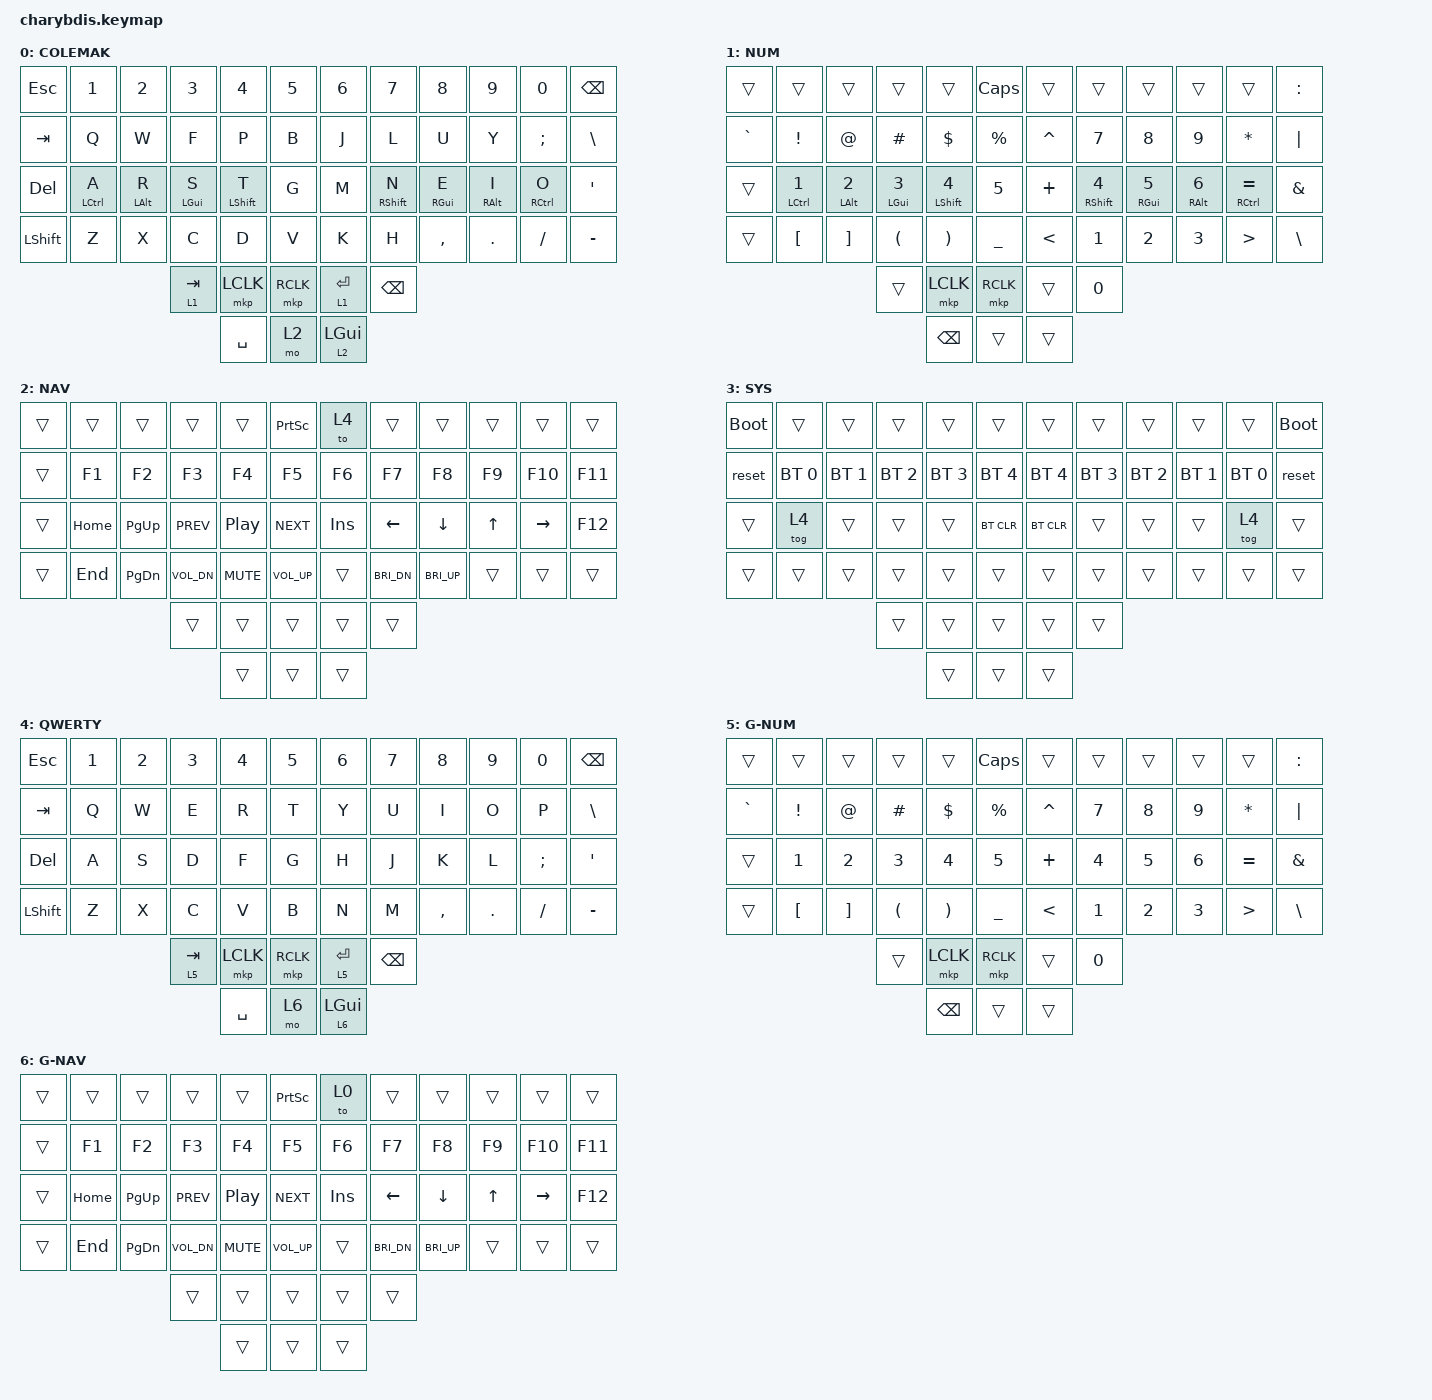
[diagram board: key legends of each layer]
#include <dt-bindings/zmk/mouse.h>
#include <behaviors.dtsi>
#include <dt-bindings/zmk/bt.h>
#include <dt-bindings/zmk/keys.h>
#include <dt-bindings/zmk/pointing.h>

&lt {
    tapping-term-ms = <200>;
    flavor = "balanced";
    quick-tap-ms = <150>;
};

/ {
    /* Conditional layers */
    conditional_layers {
        compatible = "zmk,conditional-layers";
        tri_layer {
            if-layers = <1 2>;
            then-layer = <3>;
        };
    };

    /* Home row mods */
    behaviors {
        hml: homerow_mods_left {
            compatible = "zmk,behavior-hold-tap";
            label = "HOMEROW_MODS_LEFT";
            #binding-cells = <2>;
            tapping-term-ms = <220>;
            quick-tap-ms = <150>;
            flavor = "balanced";
            bindings = <&kp>, <&kp>;
            hold-trigger-key-positions = <6 7 8 9 10 11 18 19 20 21 22 23 30 31 32 33 34 35 42 43 44 45 46 47 54 55 56>;
        };

        hmr: homerow_mods_right {
            compatible = "zmk,behavior-hold-tap";
            label = "HOMEROW_MODS_RIGHT";
            #binding-cells = <2>;
            tapping-term-ms = <220>;
            quick-tap-ms = <150>;
            flavor = "balanced";
            bindings = <&kp>, <&kp>;
            hold-trigger-key-positions = <0 1 2 3 4 5 12 13 14 15 16 17 24 25 26 27 28 29 36 37 38 39 40 41 48 49 50>;
        };

        // Tap-dance: dot variations
        td_dot: tap_dance_dot {
            compatible = "zmk,behavior-tap-dance";
            label = "TAP_DANCE_DOT";
            #binding-cells = <0>;
            tapping-term-ms = <200>;
            bindings = <&kp DOT>, <&macro_dot_dot>;
        };

        // Tap-dance: space/underscore
        td_spc: tap_dance_space {
            compatible = "zmk,behavior-tap-dance";
            label = "TAP_DANCE_SPACE";
            #binding-cells = <0>;
            tapping-term-ms = <200>;
            bindings = <&kp SPACE>, <&kp UNDER>;
        };

        // Mod-morph: dot to colon with shift
        mm_dot: mod_morph_dot {
            compatible = "zmk,behavior-mod-morph";
            label = "MOD_MORPH_DOT";
            #binding-cells = <0>;
            bindings = <&kp DOT>, <&kp COLON>;
            mods = <(MOD_LSFT|MOD_RSFT)>;
        };

        // Mod-morph: comma to semicolon with shift
        mm_comma: mod_morph_comma {
            compatible = "zmk,behavior-mod-morph";
            label = "MOD_MORPH_COMMA";
            #binding-cells = <0>;
            bindings = <&kp COMMA>, <&kp SEMI>;
            mods = <(MOD_LSFT|MOD_RSFT)>;
        };
    };

    /* Macros */
    macros {
        macro_dot_dot: macro_dot_dot {
            compatible = "zmk,behavior-macro";
            label = "MACRO_DOT_DOT";
            #binding-cells = <0>;
            bindings = <&kp DOT &kp DOT>;
        };

        macro_ellipsis: macro_ellipsis {
            compatible = "zmk,behavior-macro";
            label = "MACRO_ELLIPSIS";
            #binding-cells = <0>;
            bindings = <&kp DOT &kp DOT &kp DOT>;
        };

        macro_braces: macro_braces {
            compatible = "zmk,behavior-macro";
            label = "MACRO_BRACES";
            #binding-cells = <0>;
            bindings = <&kp LBRC &kp RBRC &kp LEFT>;
        };

        macro_brackets: macro_brackets {
            compatible = "zmk,behavior-macro";
            label = "MACRO_BRACKETS";
            #binding-cells = <0>;
            bindings = <&kp LBKT &kp RBKT &kp LEFT>;
        };

        macro_parens: macro_parens {
            compatible = "zmk,behavior-macro";
            label = "MACRO_PARENS";
            #binding-cells = <0>;
            bindings = <&kp LPAR &kp RPAR &kp LEFT>;
        };

        macro_arrow: macro_arrow {
            compatible = "zmk,behavior-macro";
            label = "MACRO_ARROW";
            #binding-cells = <0>;
            bindings = <&kp MINUS &kp GT>;
        };

        macro_fat_arrow: macro_fat_arrow {
            compatible = "zmk,behavior-macro";
            label = "MACRO_FAT_ARROW";
            #binding-cells = <0>;
            bindings = <&kp EQUAL &kp GT>;
        };
    };

    /* Combos */
    combos {
        compatible = "zmk,combos";

        // ESC combos (Vim-style)
        combo_esc_wf {
            timeout-ms = <50>;
            key-positions = <14 15>;  // W+F
            bindings = <&kp ESC>;
            layers = <0>;
        };

        combo_esc_lu {
            timeout-ms = <50>;
            key-positions = <19 20>;  // L+U
            bindings = <&kp ESC>;
            layers = <0>;
        };

        // Bracket pairs
        combo_braces {
            timeout-ms = <50>;
            key-positions = <27 28>;  // D+F (C+D en Colemak-DH)
            bindings = <&macro_braces>;
            layers = <0>;
        };

        combo_brackets {
            timeout-ms = <50>;
            key-positions = <37 38>;  // Z+X
            bindings = <&macro_brackets>;
            layers = <0>;
        };

        combo_parens {
            timeout-ms = <50>;
            key-positions = <15 16>;  // F+P
            bindings = <&macro_parens>;
            layers = <0>;
        };

        // Programming arrows
        combo_arrow {
            timeout-ms = <50>;
            key-positions = <33 34>;  // K+H
            bindings = <&macro_arrow>;
            layers = <0>;
        };

        combo_fat_arrow {
            timeout-ms = <50>;
            key-positions = <21 22>;  // Y+;
            bindings = <&macro_fat_arrow>;
            layers = <0>;
        };

        // Quick delete word
        combo_del_word {
            timeout-ms = <50>;
            key-positions = <32 33>;  // H+K (inverted for Colemak)
            bindings = <&kp LC(BSPC)>;
            layers = <0>;
        };

        // Caps Word (ambos shifts)
        combo_caps_word {
            timeout-ms = <50>;
            key-positions = <28 31>;  // Ambos SHIFT en home row
            bindings = <&caps_word>;
            layers = <0>;
        };

        // Tab (Q+W)
        combo_tab {
            timeout-ms = <50>;
            key-positions = <13 14>;  // Q+W
            bindings = <&kp TAB>;
            layers = <0>;
        };

        // Enter (U+Y)
        combo_enter {
            timeout-ms = <50>;
            key-positions = <20 21>;  // U+Y
            bindings = <&kp ENTER>;
            layers = <0>;
        };

        // Backspace mejorado (L+U ya es ESC, usamos otro)
        combo_bspc {
            timeout-ms = <50>;
            key-positions = <21 22>;  // Y+;
            bindings = <&kp BSPC>;
            layers = <0>;
        };
    };

    keymap {
        compatible = "zmk,keymap";

        // ╭─────────────────────────────────────────────────╮
        // │ 0: COLEMAK-DH BASE                              │
        // ╰─────────────────────────────────────────────────╯
        default_layer {
            label = "COLEMAK";
            bindings = <
&kp ESC         &kp N1               &kp N2           &kp N3           &kp N4             &kp N5      &kp N6     &kp N7              &kp N8            &kp N9            &kp N0                          &kp BSPC
&kp TAB         &kp Q                &kp W            &kp F            &kp P              &kp B       &kp J      &kp L               &kp U             &kp Y             &kp SEMI                        &kp BSLH
&kp DELETE      &hml LEFT_CONTROL A  &hml LEFT_ALT R  &hml LEFT_GUI S  &hml LEFT_SHIFT T  &kp G       &kp M      &hmr RIGHT_SHIFT N  &hmr RIGHT_GUI E  &hmr RIGHT_ALT I  &hmr RIGHT_CONTROL O            &kp SQT
&kp LEFT_SHIFT  &kp Z                &kp X            &kp C            &kp D              &kp V       &kp K      &kp H               &kp COMMA         &kp DOT           &kp FSLH                        &kp MINUS
                                                      &lt 1 TAB        &mkp LCLK          &mkp RCLK   &lt 1 RET  &kp BSPC
                                                                       &kp SPACE          &mo 2       &lt 2 LGUI
            >;
            trackball-bindings = <&tmv_coarse>;
        };

        // ╭─────────────────────────────────────────────────╮
        // │ 1: NUMBERS & SYMBOLS                            │
        // ╰─────────────────────────────────────────────────╯
        num_layer {
            label = "NUM";
            bindings = <
&trans     &trans                &trans           &trans            &trans                &kp CAPS     &trans         &trans              &trans              &trans            &trans                   &kp COLON
&kp GRAVE  &kp EXCL              &kp AT           &kp HASH          &kp DLLR              &kp PRCNT    &kp CARET      &kp N7              &kp N8              &kp N9            &kp ASTRK                &kp PIPE
&trans     &hml LEFT_CONTROL N1  &hml LEFT_ALT N2 &hml LEFT_GUI N3  &hml LEFT_SHIFT N4    &kp N5       &kp PLUS       &hmr RIGHT_SHIFT N4 &hmr RIGHT_GUI N5   &hmr RIGHT_ALT N6 &hmr RIGHT_CONTROL EQUAL &kp AMPS
&trans     &kp LBKT              &kp RBKT         &kp LPAR          &kp RPAR              &kp UNDER    &kp LT         &kp N1              &kp N2              &kp N3            &kp GT                   &kp BSLH
                                                  &trans            &mkp LCLK             &mkp RCLK    &trans         &kp N0
                                                                    &kp BSPC              &trans       &trans
            >;
            trackball-bindings = <&tsl>;
        };

        // ╭─────────────────────────────────────────────────╮
        // │ 2: NAVIGATION & MEDIA                           │
        // ╰─────────────────────────────────────────────────╯
        nav_layer {
            label = "NAV";
            bindings = <
&trans  &trans    &trans     &trans       &trans        &kp PSCRN     &to 4      &trans       &trans       &trans     &trans      &trans
&trans  &kp F1    &kp F2     &kp F3       &kp F4        &kp F5        &kp F6     &kp F7       &kp F8       &kp F9     &kp F10     &kp F11
&trans  &kp HOME  &kp PG_UP  &kp C_PREV   &kp C_PP      &kp C_NEXT    &kp INS    &kp LEFT     &kp DOWN     &kp UP     &kp RIGHT   &kp F12
&trans  &kp END   &kp PG_DN  &kp C_VOL_DN &kp C_MUTE    &kp C_VOL_UP  &trans     &kp C_BRI_DN &kp C_BRI_UP &trans     &trans      &trans
                             &trans       &trans        &trans        &trans     &trans
                                          &trans        &trans        &trans
            >;
            trackball-bindings = <&tsl>;
        };

        // ╭─────────────────────────────────────────────────╮
        // │ 3: SYSTEM & BLUETOOTH (Layer 1 + 2)            │
        // ╰─────────────────────────────────────────────────╯
        system_layer {
            label = "SYS";
            bindings = <
&bootloader &trans       &trans       &trans       &trans       &trans         &trans       &trans       &trans       &trans       &trans       &bootloader
&reset      &bt BT_SEL 0 &bt BT_SEL 1 &bt BT_SEL 2 &bt BT_SEL 3 &bt BT_SEL 4   &bt BT_SEL 4 &bt BT_SEL 3 &bt BT_SEL 2 &bt BT_SEL 1 &bt BT_SEL 0 &reset
&trans      &tog 4       &trans       &trans       &trans       &bt BT_CLR     &bt BT_CLR   &trans       &trans       &trans       &tog 4       &trans
&trans      &trans       &trans       &trans       &trans       &trans         &trans       &trans       &trans       &trans       &trans       &trans
                                      &trans       &trans       &trans         &trans       &trans
                                                   &trans       &trans         &trans
            >;
            trackball-bindings = <&tmv_coarse>;
        };

        // ╭─────────────────────────────────────────────────╮
        // │ 4: GAMING QWERTY (Sin Home Row Mods)          │
        // ╰─────────────────────────────────────────────────╯
        gaming_layer {
            label = "QWERTY";
            bindings = <
&kp ESC         &kp N1        &kp N2        &kp N3        &kp N4        &kp N5      &kp N6     &kp N7        &kp N8        &kp N9        &kp N0          &kp BSPC
&kp TAB         &kp Q         &kp W         &kp E         &kp R         &kp T       &kp Y      &kp U         &kp I         &kp O         &kp P           &kp BSLH
&kp DELETE      &kp A         &kp S         &kp D         &kp F         &kp G       &kp H      &kp J         &kp K         &kp L         &kp SEMI        &kp SQT
&kp LEFT_SHIFT  &kp Z         &kp X         &kp C         &kp V         &kp B       &kp N      &kp M         &kp COMMA     &kp DOT       &kp FSLH        &kp MINUS
                                            &lt 5 TAB     &mkp LCLK     &mkp RCLK   &lt 5 RET  &kp BSPC
                                                          &kp SPACE     &mo 6       &lt 6 LGUI
            >;
            trackball-bindings = <&tmv_coarse>;
        };

        // ╭─────────────────────────────────────────────────╮
        // │ 5: GAMING NUMBERS & SYMBOLS                     │
        // ╰─────────────────────────────────────────────────╯
        gaming_num_layer {
            label = "G-NUM";
            bindings = <
&trans     &trans    &trans    &trans    &trans    &kp CAPS     &trans         &trans    &trans    &trans    &trans        &kp COLON
&kp GRAVE  &kp EXCL  &kp AT    &kp HASH  &kp DLLR  &kp PRCNT    &kp CARET      &kp N7    &kp N8    &kp N9    &kp ASTRK     &kp PIPE
&trans     &kp N1    &kp N2    &kp N3    &kp N4    &kp N5       &kp PLUS       &kp N4    &kp N5    &kp N6    &kp EQUAL     &kp AMPS
&trans     &kp LBKT  &kp RBKT  &kp LPAR  &kp RPAR  &kp UNDER    &kp LT         &kp N1    &kp N2    &kp N3    &kp GT        &kp BSLH
                               &trans    &mkp LCLK &mkp RCLK    &trans         &kp N0
                                         &kp BSPC  &trans       &trans
            >;
            trackball-bindings = <&tsl>;
        };

        // ╭─────────────────────────────────────────────────╮
        // │ 6: GAMING NAVIGATION & MEDIA                    │
        // ╰─────────────────────────────────────────────────╯
        gaming_nav_layer {
            label = "G-NAV";
            bindings = <
&trans  &trans    &trans     &trans       &trans        &kp PSCRN     &to 0      &trans       &trans       &trans     &trans      &trans
&trans  &kp F1    &kp F2     &kp F3       &kp F4        &kp F5        &kp F6     &kp F7       &kp F8       &kp F9     &kp F10     &kp F11
&trans  &kp HOME  &kp PG_UP  &kp C_PREV   &kp C_PP      &kp C_NEXT    &kp INS    &kp LEFT     &kp DOWN     &kp UP     &kp RIGHT   &kp F12
&trans  &kp END   &kp PG_DN  &kp C_VOL_DN &kp C_MUTE    &kp C_VOL_UP  &trans     &kp C_BRI_DN &kp C_BRI_UP &trans     &trans      &trans
                             &trans       &trans        &trans        &trans     &trans
                                          &trans        &trans        &trans
            >;
            trackball-bindings = <&tsl>;
        };
    };
};
